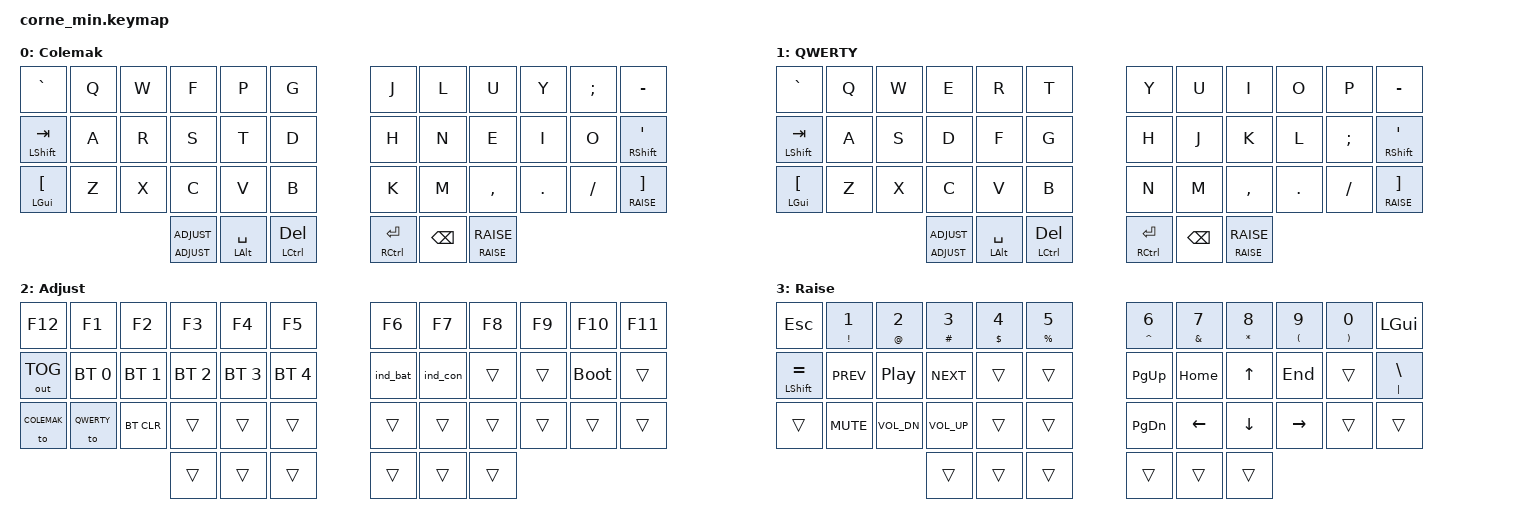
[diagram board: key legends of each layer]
/*
 * Copyright (c) 2020 The ZMK Contributors
 *
 * SPDX-License-Identifier: MIT
 *
 * Corne Min variant of the corne.keymap layout (ported from a QMK Iris keymap).
 * Same 42-key matrix, so the layout is identical to config/corne.keymap.
 *
 * Hardware differences handled here:
 *   - No WS2812 underglow: manual &rgb_ug keys are dropped.
 *   - RGB LED indicator (rgbled_adapter) shows battery / BT automatically;
 *     &ind_bat / &ind_con expose them on demand from the ADJUST layer.
 *   - No nice_view: the &nice_view_spi node is omitted.
 *
 * Layers:
 *   0 COLEMAK (default, compiled boot default)
 *   1 QWERTY
 *   2 ADJUST  (F-keys, Bluetooth, layout switch, bootloader, LED indicators)
 *   3 RAISE   (numbers, inverted-T arrows / nav, media, volume)
 *
 * Layer access:
 *   - RAISE: hold (or tap to toggle) the right-outer thumb key.
 *   - ADJUST: hold (or tap to toggle) the left-inner thumb key.
 *
 * Symbols: hold the bottom-right ] key (RAISE+Shift) and tap the number row, or use
 *   RAISE + Shift + number.
 * Ctrl+arrows (word movement): hold left-thumb DEL/CTRL + a RAISE thumb, then use arrows.
 *
 * The space thumb uses a tap-preferred mod-tap, so fast "space then key" always types a
 * space; Alt only engages if space is actually held past the tapping term.
 */

#include <behaviors.dtsi>
#include <behaviors/rgbled_widget.dtsi>
#include <dt-bindings/zmk/keys.h>
#include <dt-bindings/zmk/bt.h>
#include <dt-bindings/zmk/outputs.h>

#define COLEMAK 0
#define QWERTY  1
#define ADJUST  2
#define RAISE   3

/ {
        behaviors {
                // Tap = key, Hold = modifier. Mirrors QMK's *_T() mod-taps.
                // "balanced" approximates QMK's PERMISSIVE_HOLD.
                // quick-tap-ms: tap, then tap-and-hold again repeats the tap.
                // Used for Enter/Ctrl (Shift keys use &hs, which has no quick-tap).
                ht: hold_tap {
                        compatible = "zmk,behavior-hold-tap";
                        #binding-cells = <2>;
                        tapping-term-ms = <150>;
                        quick-tap-ms = <200>;
                        flavor = "balanced";
                        bindings = <&kp>, <&kp>;
                };

                // Shift keys (Tab/Shift, '/RShift, =/Shift): no quick-tap, so pressing
                // Shift twice in quick succession never slips out a stray tap (e.g. Tab).
                hs: hold_shift {
                        compatible = "zmk,behavior-hold-tap";
                        #binding-cells = <2>;
                        tapping-term-ms = <150>;
                        quick-tap-ms = <0>;
                        flavor = "balanced";
                        bindings = <&kp>, <&kp>;
                };

                // '/RShift: balanced = QMK permissive-hold. Shift fires if held past the
                // term OR if another key is pressed+released while ' is down (incl. fast
                // rolls). A lone quick tap still types '. require-prior-idle-ms forces a
                // plain ' when you're mid-word (another key within 100ms), so contractions
                // (don't, it's) type cleanly while deliberate rolls after a pause Shift.
                hsq: hold_shift_idle {
                        compatible = "zmk,behavior-hold-tap";
                        #binding-cells = <2>;
                        tapping-term-ms = <200>;
                        quick-tap-ms = <0>;
                        require-prior-idle-ms = <100>;
                        flavor = "balanced";
                        bindings = <&kp>, <&kp>;
                };

                // Like &mt (hold-preferred) but with quick-tap, so tap-then-hold repeats
                // the tapped key (e.g. Delete) while a plain hold still gives the modifier.
                mtq: mod_tap_quick {
                        compatible = "zmk,behavior-hold-tap";
                        #binding-cells = <2>;
                        tapping-term-ms = <150>;
                        quick-tap-ms = <200>;
                        flavor = "hold-preferred";
                        bindings = <&kp>, <&kp>;
                };

                // Tap = toggle layer (permanent on/off); Hold = momentary layer.
                // hold-preferred so holding reliably gives the momentary &mo.
                lt_tog: layer_tap_toggle {
                        compatible = "zmk,behavior-hold-tap";
                        #binding-cells = <2>;
                        tapping-term-ms = <150>;
                        quick-tap-ms = <0>;
                        flavor = "hold-preferred";
                        bindings = <&mo>, <&tog>;
                };

                // Space/Alt: tap-preferred so it only becomes Alt when actually held past
                // the tapping term — fast "space then letter" rolls type a plain space.
                smt: space_mod_tap {
                        compatible = "zmk,behavior-hold-tap";
                        #binding-cells = <2>;
                        tapping-term-ms = <200>;
                        quick-tap-ms = <175>;
                        flavor = "tap-preferred";
                        bindings = <&kp>, <&kp>;
                };

                // Tap = key (arg 2); Hold = momentary layer (arg 1) with Left Shift
                // held — e.g. hold to turn the RAISE number row into symbols.
                // hold-preferred so a fast RAISE+Shift+number roll engages the layer
                // BEFORE the number key is processed (balanced would let it fall through
                // to the base layer, giving Shift-only with no layer).
                hrs: hold_raise_shift {
                        compatible = "zmk,behavior-hold-tap";
                        #binding-cells = <2>;
                        tapping-term-ms = <150>;
                        quick-tap-ms = <200>;
                        flavor = "hold-preferred";
                        bindings = <&mo_shift>, <&kp>;
                };

                // RAISE number/symbol keys: tap = the key, hold = its shifted symbol
                // (e.g. tap 4 -> 4, hold 4 -> $). tap-preferred so fast number typing
                // never shifts — only a deliberate long hold gives the symbol.
                num: num_shift {
                        compatible = "zmk,behavior-hold-tap";
                        #binding-cells = <2>;
                        tapping-term-ms = <125>;
                        quick-tap-ms = <0>;
                        flavor = "tap-preferred";
                        bindings = <&kp>, <&kp>;
                };
        };

        macros {
                // Momentary layer (param) + Left Shift, both held until release.
                mo_shift: mo_shift {
                        compatible = "zmk,behavior-macro-one-param";
                        #binding-cells = <1>;
                        bindings
                            = <&macro_press &kp LSHFT>
                            , <&macro_param_1to1>
                            , <&macro_press &mo MACRO_PLACEHOLDER>
                            , <&macro_pause_for_release>
                            , <&macro_param_1to1>
                            , <&macro_release &mo MACRO_PLACEHOLDER>
                            , <&macro_release &kp LSHFT>;
                };
        };

        keymap {
                compatible = "zmk,keymap";

                // -----------------------------------------------------------------------------------------
                // |    `    |  Q  |  W  |  F  |  P  |  G  |   |  J  |  L  |  U  |  Y  |  ;  |    -    |
                // | TAB/SFT |  A  |  R  |  S  |  T  |  D  |   |  H  |  N  |  E  |  I  |  O  |  '/RSFT |
                // | [/GUI   |  Z  |  X  |  C  |  V  |  B  |   |  K  |  M  |  ,  |  .  |  /  | ]/R+S   |
                //              | ADJ | SPC/ALT | DEL/CTL |   | ENT/RCTL | BSPC | RSE |
                colemak_layer {
                        display-name = "Colemak";
                        bindings = <
   &kp GRAVE          &kp Q &kp W &kp F &kp P &kp G      &kp J &kp L  &kp U     &kp Y   &kp SEMI &kp MINUS
   &hs LSHFT TAB      &kp A &kp R &kp S &kp T &kp D      &kp H &kp N  &kp E     &kp I   &kp O    &hsq RSHFT SQT
   &ht LGUI LBKT      &kp Z &kp X &kp C &kp V &kp B      &kp K &kp M  &kp COMMA &kp DOT &kp FSLH &hrs RAISE RBKT
           &lt_tog ADJUST ADJUST &smt LALT SPACE &mtq LCTRL DEL      &ht RCTRL RET &kp BSPC &lt_tog RAISE RAISE
                        >;
                };

                // -----------------------------------------------------------------------------------------
                // |    `    |  Q  |  W  |  E  |  R  |  T  |   |  Y  |  U  |  I  |  O  |  P  |    -    |
                // | TAB/SFT |  A  |  S  |  D  |  F  |  G  |   |  H  |  J  |  K  |  L  |  ;  |  '/RSFT |
                // | [/GUI   |  Z  |  X  |  C  |  V  |  B  |   |  N  |  M  |  ,  |  .  |  /  | ]/R+S   |
                //              | ADJ | SPC/ALT | DEL/CTL |   | ENT/RCTL | BSPC | RSE |
                qwerty_layer {
                        display-name = "QWERTY";
                        bindings = <
   &kp GRAVE          &kp Q &kp W &kp E &kp R &kp T      &kp Y &kp U  &kp I     &kp O   &kp P    &kp MINUS
   &hs LSHFT TAB      &kp A &kp S &kp D &kp F &kp G      &kp H &kp J  &kp K     &kp L   &kp SEMI &hsq RSHFT SQT
   &ht LGUI LBKT      &kp Z &kp X &kp C &kp V &kp B      &kp N &kp M  &kp COMMA &kp DOT &kp FSLH &hrs RAISE RBKT
           &lt_tog ADJUST ADJUST &smt LALT SPACE &mtq LCTRL DEL      &ht RCTRL RET &kp BSPC &lt_tog RAISE RAISE
                        >;
                };

                // -----------------------------------------------------------------------------------------
                // | F12 |  F1 |  F2 |  F3 |  F4 |  F5 |   |  F6 |  F7 |  F8 |  F9 | F10 | F11  |
                // | OUT | BT0 | BT1 | BT2 | BT3 | BT4 |   | BAT | CON |     |     | BOOT |     |
                // |CLMK | QWRT| CLR |     |     |     |   |     |     |     |     |     |      |
                //               |    |    |    |   |    |    |    |
                adjust_layer {
                        display-name = "Adjust";
                        bindings = <
   &kp F12     &kp F1       &kp F2       &kp F3       &kp F4       &kp F5         &kp F6   &kp F7   &kp F8 &kp F9 &kp F10 &kp F11
   &out OUT_TOG &bt BT_SEL 0 &bt BT_SEL 1 &bt BT_SEL 2 &bt BT_SEL 3 &bt BT_SEL 4   &ind_bat &ind_con &trans &trans &bootloader &trans
   &to COLEMAK  &to QWERTY   &bt BT_CLR   &trans       &trans       &trans         &trans   &trans   &trans &trans &trans  &trans
                                          &trans       &trans       &trans            &trans   &trans   &trans
                        >;
                };

                // -----------------------------------------------------------------------------------------
                // | ESC |  1 |  2 |  3 |  4 |  5 |   |  6   |  7   |  8  |  9   |  0  | GUI |
                // |  =  | MPV| MPP| MNX|    |    |   | PGUP | HOME |  UP | END  |     |  \  |
                // |     | MUT| VL-| VL+|    |    |   | PGDN | LEFT | DWN | RGT  |     |     |
                //                  |    |    |    |   |    |    |    |
                raise_layer {
                        display-name = "Raise";
                        bindings = <
   &kp ESC   &num EXCL N1 &num AT N2 &num HASH N3 &num DLLR N4 &num PRCNT N5     &num CARET N6 &num AMPS N7 &num STAR N8 &num LPAR N9 &num RPAR N0 &kp LGUI
   &hs LSHFT EQUAL &kp C_PREV &kp C_PP &kp C_NEXT &trans &trans     &kp PG_UP &kp HOME &kp UP   &kp END   &trans   &num PIPE BSLH
   &trans    &kp C_MUTE &kp C_VOL_DN &kp C_VOL_UP &trans &trans     &kp PG_DN &kp LEFT &kp DOWN &kp RIGHT &trans   &trans
                                     &trans &trans &trans         &trans   &trans   &trans
                        >;
                };
        };
};
